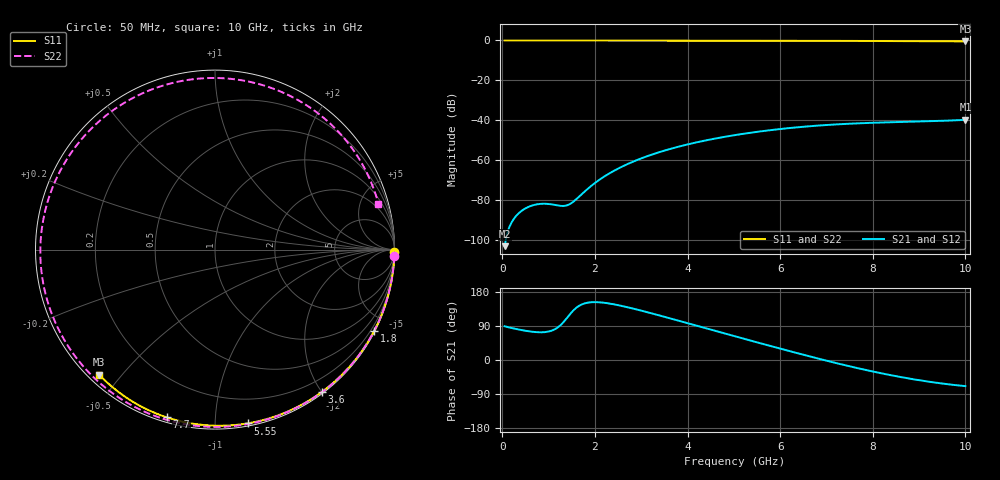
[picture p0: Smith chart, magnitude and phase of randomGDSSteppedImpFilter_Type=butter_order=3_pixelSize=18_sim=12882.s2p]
! freq	dB(S11)	phase(S11)	dB(S12)	phase(S12)
!  dB(S21)	phase(S21)	dB(S22)	phase(S22)
!S-par simulation data
#  GHz  S  DB  R 50
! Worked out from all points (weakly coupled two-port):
!   200 points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, 50 MHz to 10 GHz, reference 50 ohm
!   highest |S21| = -39.73 dB at 10 GHz (marker M1); lowest = -103.0 dB at 50 MHz (marker M2)
!   lowest |S11| = -0.5 dB at 10 GHz (marker M3), VSWR 38.61, Z = 1.54 - j21.8 ohm
!   |S11| at or under -10 dB: nowhere
!   |S22| runs from -0.5 to 0.0 dB; largest |S21 - S12| = 0
!   S11 on the Smith chart (normalised r, x): 50 MHz: open; 1.8 GHz: 0.04, -4.13; 3.6 GHz: 0.02, -2.00; 5.55 GHz: 0.02, -1.20; 7.7 GHz: 0.02, -0.75; 10 GHz: 0.03, -0.44
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0.05  -0.00 -0.8  -102.97 89.1  -102.97 89.1  -0.00 -2.1
0.75  -0.01 -11.4  -82.03 73.4  -82.03 73.4  -0.04 -30.7
1.15  -0.02 -17.5  -82.38 82.1  -82.38 82.1  -0.06 -46.6
1.55  -0.03 -23.5  -80.42 132.6  -80.42 132.6  -0.08 -62.0
1.75  -0.03 -26.5  -76.23 148.2  -76.23 148.2  -0.09 -69.6
1.8  -0.03 -27.2  -75.18 150.1  -75.18 150.1  -0.09 -71.5
2.15  -0.04 -32.4  -68.89 151.7  -68.89 151.7  -0.10 -84.3
2.5  -0.05 -37.5  -64.15 144.7  -64.15 144.7  -0.11 -96.7
2.95  -0.06 -44.0  -59.49 131.9  -59.49 131.9  -0.13 -112.0
3.4  -0.07 -50.4  -55.85 117.3  -55.85 117.3  -0.15 -126.9
3.6  -0.07 -53.2  -54.47 110.7  -54.47 110.7  -0.16 -133.3
4.35  -0.09 -63.5  -50.24 85.3  -50.24 85.3  -0.20 -157.0
5.05  -0.11 -72.9  -47.28 61.6  -47.28 61.6  -0.23 -178.7
5.55  -0.13 -79.4  -45.59 44.9  -45.59 44.9  -0.26 165.8
6.1  -0.15 -86.4  -44.09 26.8  -44.09 26.8  -0.30 148.4
6.7  -0.18 -93.9  -42.82 7.6  -42.82 7.6  -0.33 129.0
7.2  -0.21 -100.0  -42.03 -7.8  -42.03 -7.8  -0.36 112.4
7.7  -0.24 -106.0  -41.47 -22.3  -41.47 -22.3  -0.38 95.3
8.35  -0.29 -113.7  -40.96 -39.1  -40.96 -39.1  -0.41 72.7
8.8  -0.33 -119.0  -40.69 -49.3  -40.69 -49.3  -0.42 56.9
9.25  -0.37 -124.2  -40.41 -58.0  -40.41 -58.0  -0.44 41.1
10  -0.45 -132.8  -39.73 -68.9  -39.73 -68.9  -0.49 15.6
